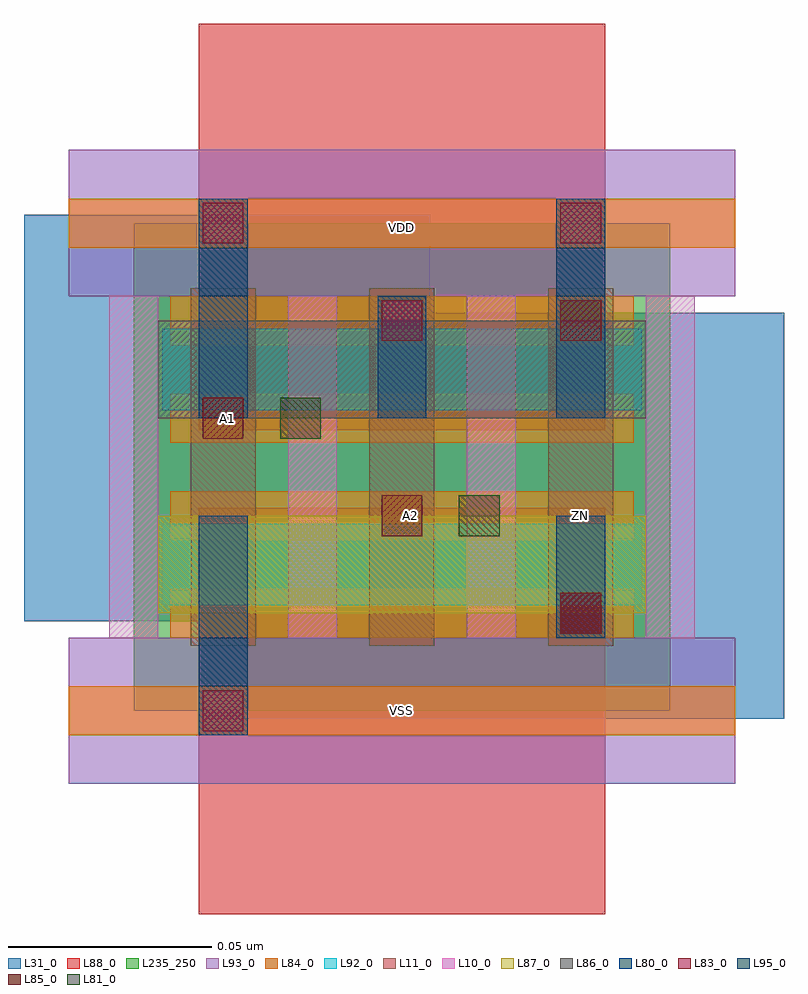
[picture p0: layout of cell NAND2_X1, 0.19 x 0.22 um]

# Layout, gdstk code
import gdstk
lib = gdstk.Library(unit=1e-6, precision=1e-09)
def R(c, l, rs):  # rectangles x0, y0, x1, y1
    for r in rs: c.add(gdstk.rectangle(r[:2], r[2:], *l))
def A(c, l, x, y, w, h, nx, ny, dx, dy):  # array of equal rectangles
    R(c, l, [(x+i*dx, y+j*dy, x+i*dx+w, y+j*dy+h) for i in range(nx) for j in range(ny)])
L10_0 = (10, 0)
L11_0 = (11, 0)
L31_0 = (31, 0)
L80_0 = (80, 0)
L81_0 = (81, 0)
L83_0 = (83, 0)
L84_0 = (84, 0)
L85_0 = (85, 0)
L86_0 = (86, 0)
L87_0 = (87, 0)
L88_0 = (88, 0)
L92_0 = (92, 0)
L93_0 = (93, 0)
L95_0 = (95, 0)
L235_250 = (235, 250)

nand2_x1 = lib.new_cell('NAND2_X1')
A(nand2_x1, L10_0, -0.006, 0.018, 0.012, 0.084, 4, 1, 0.044, 0)
A(nand2_x1, L11_0, 0.014, 0.016, 0.016, 0.088, 3, 1, 0.044, 0)
R(nand2_x1, L31_0, [(0.018,-0.002,0.118,0.098), (0.06,-0.002,0.16,0.098), (-0.027,0.022,0.073,0.122)])
R(nand2_x1, L80_0, [(0.016,-0.006,0.028,0.048), (0.104,0.018,0.116,0.048), (0.016,0.072,0.028,0.126), (0.06,0.072,0.072,0.102), (0.104,0.072,0.116,0.126)])
R(nand2_x1, L81_0, [(0.08,0.043,0.09,0.053), (0.036,0.067,0.046,0.077)])
R(nand2_x1, L83_0, [(0.017,-0.005,0.027,0.005), (0.105,0.019,0.115,0.029), (0.061,0.091,0.071,0.101), (0.017,0.115,0.027,0.125), (0.105,0.115,0.115,0.125)])
A(nand2_x1, L84_0, 0.009, 0.018, 0.114, 0.012, 1, 4, 0, 0.024)
R(nand2_x1, L84_0, [(-0.016,-0.006,0.148,0.006), (-0.016,0.114,0.148,0.126)])
R(nand2_x1, L85_0, [(0.105,0.019,0.115,0.029), (0.061,0.043,0.071,0.053), (0.017,0.067,0.027,0.077), (0.105,0.091,0.115,0.101)])
R(nand2_x1, L86_0, [(0.006,0.072,0.126,0.096)])
R(nand2_x1, L87_0, [(0.006,0.024,0.126,0.048)])
R(nand2_x1, L88_0, [(0.016,-0.05,0.116,0.05), (0.016,0.069,0.116,0.169)])
R(nand2_x1, L92_0, [(0.007,0.026,0.125,0.046), (0.007,0.074,0.125,0.094)])
R(nand2_x1, L93_0, [(-0.016,-0.018,0.148,0.018), (-0.016,0.102,0.148,0.138)])
R(nand2_x1, L95_0, [(0.016,0.006,0.028,0.018), (0.016,0.102,0.028,0.114), (0.104,0.102,0.116,0.114)])
R(nand2_x1, L235_250, [(0,0,0.132,0.12)])
nand2_x1.add(gdstk.Label('VSS', (0.066,0), layer=88, texttype=0))
nand2_x1.add(gdstk.Label('VDD', (0.066,0.119), layer=88, texttype=0))
nand2_x1.add(gdstk.Label('A1', (0.023,0.072), layer=31, texttype=0))
nand2_x1.add(gdstk.Label('A2', (0.068,0.048), layer=31, texttype=0))
nand2_x1.add(gdstk.Label('ZN', (0.11,0.048), layer=31, texttype=0))

lib.write_gds('NAND2_X1.gds')
